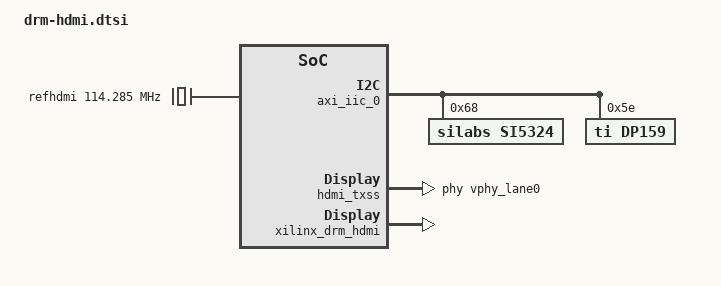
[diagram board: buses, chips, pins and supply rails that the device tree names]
&amba {
	/* 114.285MHz reference crystal (X9 on ZCU102 rev. D1) for Si5324 clock for HDMI */
	refhdmi: refhdmi {
		compatible = "fixed-clock";
		#clock-cells = <0>;
		clock-frequency = <114285000>;
	};

	/* IIC controller with Si5324 clock generator and DP159 retimer for HDMI TX */
	axi_iic_0: i2c@a0020000 {
		status = "okay";
		compatible = "xlnx,xps-iic-2.00.a";
		interrupt-parent = <&gic>;
		interrupts = <0 94 4>;
		reg = <0x0 0xa0020000 0x0 0x10000>;
		clocks = <&axi_lite_clk>;
		#address-cells = <1>;
		#size-cells = <0>;

		/* Si5324 i2c clock generator */
		si5324: clock-generator@68 {
			status = "okay";
			compatible = "silabs,si5324";
			reg = <0x68>;
			#address-cells = <1>;
			#size-cells = <0>;
			#clock-cells = <1>;

			/* input clock(s); the XTAL is hard-wired on the ZCU102 board */
			clocks = <&refhdmi>;
			clock-names = "xtal";

			/* output clocks */
			clk0 {
				reg = <0>;
				/* HDMI TX reference clock output frequency */
				clock-frequency = <27000000>;
			};
			/* this Si5324 output is not connected on the ZCU102 board
			clk1 {
				reg = <1>;
			};
			*/
		};

		/* DP159 exposes a virtual CCF clock. Upon .set_rate(), it adapts its retiming/driving behaviour */
		dp159: hdmi-retimer@5e {
			status = "okay";
			compatible = "ti,dp159";
			reg = <0x5e>;
			#address-cells = <1>;
			#size-cells = <0>;
			#clock-cells = <0>;
		};
	};

	v_mix_0: v_mix@b00c0000 {
		compatible = "xlnx,v-mix-1.00.a";
		interrupt-parent = <&gic>;
		interrupts = <0 105 4>;
		reg = <0x0 0xb00c0000 0x0 0x40000>;

		xlnx,bpc = <8>;
		xlnx,ppc = <2>;
		xlnx,num-layers = <4>;

		mixer_master_layer: layer_0 {
			xlnx,layer-id = <0>;
			xlnx,vformat = "bgr888";
			xlnx,layer-width = <3840>;
			xlnx,layer-height = <2160>;
		};
		mixer_overlay_1: layer_1 {
			xlnx,layer-id = <1>;
			xlnx,vformat = "yuv422";
			xlnx,layer-alpha;
		};
		mixer_overlay_2: layer_2 {
			xlnx,layer-id = <2>;
			xlnx,vformat = "yuv422";
			xlnx,layer-alpha;
		};
		mixer_overlay_3: layer_3 {
			xlnx,layer-id = <3>;
			xlnx,vformat = "argb8888";
			xlnx,layer-alpha;
			xlnx,layer-primary;
		};
	};

	hdmi_txss: hdmi_txss@a0080000 {
		compatible = "xlnx,v-hdmi-tx-ss-2.0";
		reg = <0x0 0xa0080000 0x0 0x20000>;
		interrupts = <0 93 4>;
		interrupt-parent = <&gic>;
		clocks = <&axi_lite_clk>, <&axi_stream_clk>, <&dp159>;
		clock-names = "axi-lite", "video", "retimer-clk";
		phy-names = "hdmi-phy0", "hdmi-phy1", "hdmi-phy2";
		phys = <&vphy_lane0 0 1 1 1>, <&vphy_lane1 0 1 1 1>, <&vphy_lane2 0 1 1 1>;

		xlnx,input-pixels-per-clock = <2>;
		xlnx,max-bits-per-component = <8>;
		xlnx,output-fmt = "rgb";
		xlnx,hdmi-tx-offset = <0x00000>;
		xlnx,vtc-offset = <0x10000>;
	};

	xilinx_drm_hdmi {
		compatible = "xlnx,drm";
		status = "okay";
		clocks = <&si5324 0>;

		xlnx,mixer = <&v_mix_0>;
		xlnx,mixer-reset-gpios = <&gpio 83 1>;
		xlnx,encoder-slave = <&hdmi_txss>;
		xlnx,connector-type = "HDMIA";

		planes {
			xlnx,pixel-format = "bgr888";
			plane0 {
				xlnx,mixer-layer = <&mixer_master_layer>;
			};
			plane1 {
				xlnx,mixer-layer = <&mixer_overlay_1>;
			};
			plane2 {
				xlnx,mixer-layer = <&mixer_overlay_2>;
			};
			plane3 {
				xlnx,mixer-layer = <&mixer_overlay_3>;
			};
		};
	};
};
